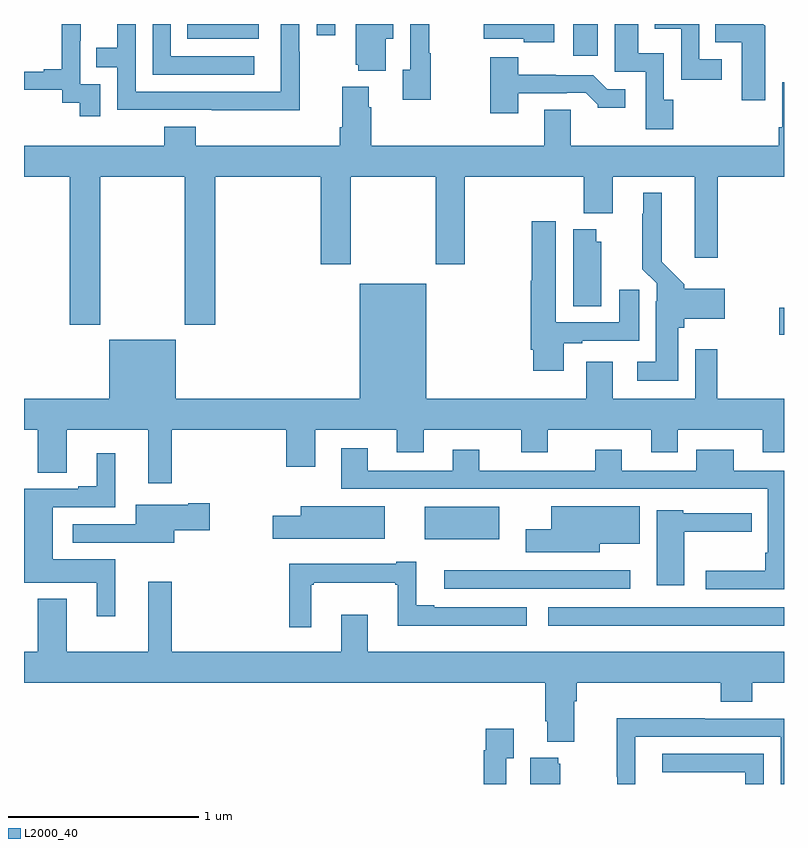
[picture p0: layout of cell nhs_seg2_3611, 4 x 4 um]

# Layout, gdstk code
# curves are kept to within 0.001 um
import gdstk
lib = gdstk.Library(unit=1e-6, precision=1e-09)
def R(c, l, rs):  # rectangles x0, y0, x1, y1
    for r in rs: c.add(gdstk.rectangle(r[:2], r[2:], *l))
def P(c, l, *ps):  # polygons
    for p in ps: c.add(gdstk.Polygon(p, *l))
L2000_40 = (2000, 40)

nhs_seg2_3611 = lib.new_cell('nhs_seg2_3611')
R(nhs_seg2_3611, L2000_40, [(303.759,618.632,305,618.729), (303.11,619.088,303.502,619.258), (304.974,620.164,305,620.306), (303.89,621.633,304.021,621.8), (301.858,621.722,302.236,621.8), (302.541,621.741,302.637,621.8)])
P(nhs_seg2_3611, L2000_40, [(303.79,621.8),(303.42,621.8),(303.42,621.722),(303.63,621.722),(303.63,621.704),(303.79,621.704)],
  [(302.212,621.63),(301.773,621.63),(301.773,621.8),(301.677,621.8),(301.677,621.534),(302.212,621.534)],
  [(302.451,621.653),(302.448,621.653),(302.448,621.8),(302.352,621.8),(302.352,621.444),(301.587,621.444),(301.587,621.8),(301.491,621.8),(301.491,621.674),(301.381,621.674),(301.381,621.573),(301.491,621.573),(301.491,621.348),(301.987,621.348),(301.987,621.347),(302.451,621.347)],
  [(304.672,621.615),(304.554,621.615),(304.554,621.8),(304.319,621.8),(304.319,621.776),(304.458,621.776),(304.458,621.507),(304.672,621.507)],
  [(304.9,621.79),(304.89,621.8),(304.639,621.8),(304.639,621.704),(304.778,621.704),(304.778,621.399),(304.9,621.399)],
  [(303.142,621.646),(303.134,621.646),(303.134,621.8),(303.033,621.8),(303.033,621.558),(302.993,621.558),(302.993,621.402),(303.142,621.402)],
  [(302.905,621.722),(302.944,621.722),(302.944,621.8),(302.747,621.8),(302.747,621.585),(302.759,621.585),(302.759,621.554),(302.905,621.554)],
  [(304.416,621.402),(304.368,621.402),(304.368,621.646),(304.234,621.646),(304.234,621.8),(304.109,621.8),(304.109,621.549),(304.272,621.549),(304.272,621.246),(304.416,621.246)],
  [(301.401,621.483),(301.296,621.483),(301.296,621.713),(301.298,621.713),(301.298,621.8),(301.199,621.8),(301.199,621.562),(301.103,621.562),(301.103,621.549),(301,621.549),(301,621.453),(301.2,621.453),(301.2,621.385),(301.293,621.385),(301.293,621.315),(301.401,621.315)],
  [(303.601,621.435),(303.857,621.435),(303.857,621.438),(303.956,621.438),(304.02,621.374),(304.02,621.359),(304.165,621.359),(304.165,621.456),(304.071,621.456),(303.996,621.531),(303.601,621.532),(303.601,621.625),(303.454,621.625),(303.454,621.33),(303.601,621.33)],
  [(301.904,621.259),(301.739,621.259),(301.739,621.16),(301,621.16),(301,620.996),(301.241,620.996),(301.241,620.217),(301.401,620.217),(301.401,620.996),(301.846,620.996),(301.846,620.217),(302.006,620.217),(302.006,620.996),(302.561,620.996),(302.561,620.535),(302.721,620.535),(302.721,620.996),(303.166,620.996),(303.166,620.535),(303.321,620.535),(303.321,620.996),(303.947,620.996),(303.947,620.804),(304.099,620.804),(304.099,620.996),(304.529,620.996),(304.529,620.571),(304.652,620.571),(304.652,620.996),(305,620.996),(305,621.493),(304.992,621.493),(304.992,621.256),(304.972,621.256),(304.972,621.16),(303.877,621.16),(303.877,621.35),(303.737,621.35),(303.737,621.16),(302.828,621.16),(302.828,621.362),(302.815,621.362),(302.815,621.469),(302.675,621.469),(302.675,621.256),(302.663,621.256),(302.663,621.16),(301.904,621.16)],
  [(304.444,620.202),(304.475,620.202),(304.475,620.249),(304.687,620.249),(304.687,620.407),(304.475,620.407),(304.475,620.43),(304.357,620.548),(304.357,620.911),(304.259,620.911),(304.259,620.801),(304.255,620.801),(304.255,620.51),(304.329,620.436),(304.329,620.342),(304.325,620.342),(304.325,620.023),(304.227,620.023),(304.227,619.922),(304.444,619.922)],
  [(303.841,620.121),(303.937,620.121),(303.937,620.133),(304.237,620.133),(304.237,620.401),(304.133,620.401),(304.133,620.229),(303.799,620.229),(303.799,620.761),(303.673,620.761),(303.673,620.448),(303.668,620.448),(303.668,620.086),(303.68,620.086),(303.68,619.974),(303.841,619.974)],
  [(304.039,620.655),(304.012,620.655),(304.012,620.719),(303.89,620.719),(303.89,620.314),(304.039,620.314)],
  [(301.777,619.664),(302.381,619.664),(302.381,619.47),(302.533,619.47),(302.533,619.664),(302.963,619.664),(302.963,619.547),(303.103,619.547),(303.103,619.664),(303.617,619.664),(303.617,619.547),(303.757,619.547),(303.757,619.664),(304.301,619.664),(304.301,619.547),(304.441,619.547),(304.441,619.664),(304.889,619.664),(304.889,619.547),(305,619.547),(305,619.828),(304.649,619.828),(304.649,620.089),(304.533,620.089),(304.533,619.828),(304.099,619.828),(304.099,620.023),(303.959,620.023),(303.959,619.828),(303.118,619.828),(303.118,620.434),(302.768,620.434),(302.768,619.828),(301.798,619.828),(301.798,620.137),(301.448,620.137),(301.448,619.828),(301,619.828),(301,619.664),(301.073,619.664),(301.073,619.438),(301.225,619.438),(301.225,619.664),(301.655,619.664),(301.655,619.383),(301.777,619.383)],
  [(305,619.449),(304.735,619.449),(304.735,619.558),(304.538,619.558),(304.538,619.449),(304.147,619.449),(304.147,619.558),(304.007,619.558),(304.007,619.449),(303.397,619.449),(303.397,619.558),(303.257,619.558),(303.257,619.449),(302.809,619.449),(302.809,619.567),(302.669,619.567),(302.669,619.353),(304.914,619.353),(304.914,619.018),(304.902,619.018),(304.902,618.923),(304.587,618.923),(304.587,618.825),(305,618.825)],
  [(301.48,618.982),(301.15,618.982),(301.15,619.257),(301.48,619.257),(301.48,619.54),(301.382,619.54),(301.382,619.366),(301.286,619.366),(301.286,619.353),(301,619.353),(301,618.86),(301.382,618.86),(301.382,618.684),(301.48,618.684)],
  [(301.792,619.136),(301.978,619.136),(301.978,619.278),(301.865,619.278),(301.865,619.27),(301.589,619.27),(301.589,619.167),(301.257,619.167),(301.257,619.071),(301.576,619.071),(301.576,619.07),(301.792,619.07)],
  [(304.03,619.064),(304.24,619.064),(304.24,619.261),(303.776,619.261),(303.776,619.141),(303.642,619.141),(303.642,619.019),(304.03,619.019)],
  [(302.899,619.261),(302.456,619.261),(302.456,619.213),(302.31,619.213),(302.31,619.091),(302.899,619.091)],
  [(304.474,619.127),(304.829,619.127),(304.829,619.224),(304.47,619.224),(304.47,619.24),(304.331,619.24),(304.331,618.846),(304.474,618.846)],
  [(302.512,618.849),(302.524,618.849),(302.524,618.86),(302.955,618.86),(302.955,618.849),(302.966,618.849),(302.966,618.632),(303.646,618.632),(303.646,618.729),(303.16,618.729),(303.16,618.742),(303.064,618.742),(303.064,618.97),(302.96,618.97),(302.96,618.958),(302.395,618.958),(302.395,618.624),(302.512,618.624)],
  [(304.192,618.924),(303.498,618.924),(303.498,618.925),(303.213,618.925),(303.213,618.828),(304.192,618.828)],
  [(303.895,618.236),(303.908,618.236),(303.908,618.332),(304.667,618.332),(304.667,618.233),(304.832,618.233),(304.832,618.332),(305,618.332),(305,618.496),(302.809,618.496),(302.809,618.691),(302.669,618.691),(302.669,618.496),(301.777,618.496),(301.777,618.865),(301.655,618.865),(301.655,618.496),(301.225,618.496),(301.225,618.775),(301.073,618.775),(301.073,618.496),(301,618.496),(301,618.332),(303.743,618.332),(303.743,618.13),(303.755,618.13),(303.755,618.023),(303.895,618.023)],
  [(304.218,618.048),(304.983,618.048),(304.983,617.8),(305,617.8),(305,618.144),(304.583,618.144),(304.583,618.146),(304.12,618.146),(304.12,617.839),(304.122,617.839),(304.122,617.8),(304.218,617.8)],
  [(303.537,617.935),(303.577,617.935),(303.577,618.091),(303.429,618.091),(303.429,617.978),(303.421,617.978),(303.421,617.8),(303.537,617.8)],
  [(304.893,617.958),(304.359,617.958),(304.359,617.862),(304.797,617.862),(304.797,617.8),(304.893,617.8)],
  [(303.823,617.907),(303.812,617.907),(303.812,617.938),(303.665,617.938),(303.665,617.8),(303.823,617.8)])

lib.write_gds('nhs_seg2_3611.gds')
